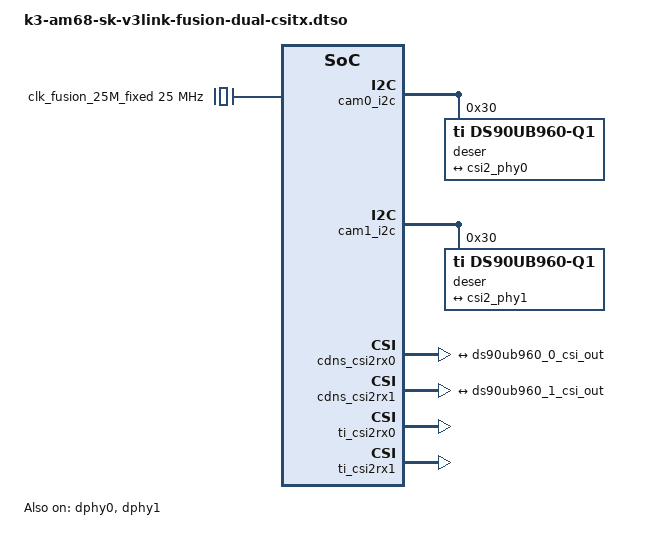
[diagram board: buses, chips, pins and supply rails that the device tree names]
// SPDX-License-Identifier: GPL-2.0
/*
 * DT Overlay for Arducam V3Link UC-A09 board
 * https://www.arducam.com/fpd-link-3-cameras/
 *
 * Copyright (c) 2025 Texas Instruments Incorporated - https://www.ti.com/
 */


/dts-v1/;
/plugin/;

&{/} {
	clk_fusion_25M_fixed: fixed-clock-25M {
		compatible = "fixed-clock";
		#clock-cells = <0>;
		clock-frequency = <25000000>;
	};
};

&csi_mux {
	idle-state = <1>;
};

&cam0_i2c {
	#address-cells = <1>;
	#size-cells = <0>;

	deser@30 {
		compatible = "ti,ds90ub960-q1";
		reg = <0x30>;

		clock-names = "refclk";
		clocks = <&clk_fusion_25M_fixed>;

		i2c-alias-pool = <0x4a 0x4b 0x4c 0x4d 0x4e 0x4f>;

		deserializer_0_ports: ports {
			#address-cells = <1>;
			#size-cells = <0>;

			/* CSI-2 TX */
			port@4 {
				reg = <4>;
				ds90ub960_0_csi_out: endpoint {
					data-lanes = <1 2 3 4>;
					clock-lanes = <0>;
					link-frequencies = /bits/ 64 <800000000>;
					remote-endpoint = <&csi2_phy0>;
				};
			};
		};

		deserializer_0_links: links {
			#address-cells = <1>;
			#size-cells = <0>;
		};
	};
};

&cam1_i2c {
	#address-cells = <1>;
	#size-cells = <0>;

	deser@30 {
		compatible = "ti,ds90ub960-q1";
		reg = <0x30>;

		clock-names = "refclk";
		clocks = <&clk_fusion_25M_fixed>;

		i2c-alias-pool = <0x5a 0x5b 0x5c 0x5d 0x5e 0x5f>;

		deserializer_1_ports: ports {
			#address-cells = <1>;
			#size-cells = <0>;

			/* CSI-2 TX */
			port@5 {
				reg = <5>;
				ds90ub960_1_csi_out: endpoint {
					data-lanes = <1 2 3 4>;
					clock-lanes = <0>;
					link-frequencies = /bits/ 64 <800000000>;
					remote-endpoint = <&csi2_phy1>;
				};
			};
		};

		deserializer_1_links: links {
			#address-cells = <1>;
			#size-cells = <0>;
		};
	};
};

&cdns_csi2rx0 {
	ports {
		#address-cells = <1>;
		#size-cells = <0>;

		csi0_port0: port@0 {
			reg = <0>;
			status = "okay";

			csi2_phy0: endpoint {
				remote-endpoint = <&ds90ub960_0_csi_out>;
				bus-type = <4>; /* CSI2 DPHY. */
				clock-lanes = <0>;
				data-lanes = <1 2 3 4>;
				link-frequencies = /bits/ 64 <800000000>;
			};
		};
	};
};

&cdns_csi2rx1 {
	ports {
		#address-cells = <1>;
		#size-cells = <0>;

		csi1_port0: port@0 {
			reg = <0>;
			status = "okay";

			csi2_phy1: endpoint {
				remote-endpoint = <&ds90ub960_1_csi_out>;
				bus-type = <4>; /* CSI2 DPHY. */
				clock-lanes = <0>;
				data-lanes = <1 2 3 4>;
				link-frequencies = /bits/ 64 <800000000>;
			};
		};
	};
};

&ti_csi2rx0 {
	status = "okay";
};

&dphy0 {
	status = "okay";
};

&ti_csi2rx1 {
	status = "okay";
};

&dphy1 {
	status = "okay";
};
